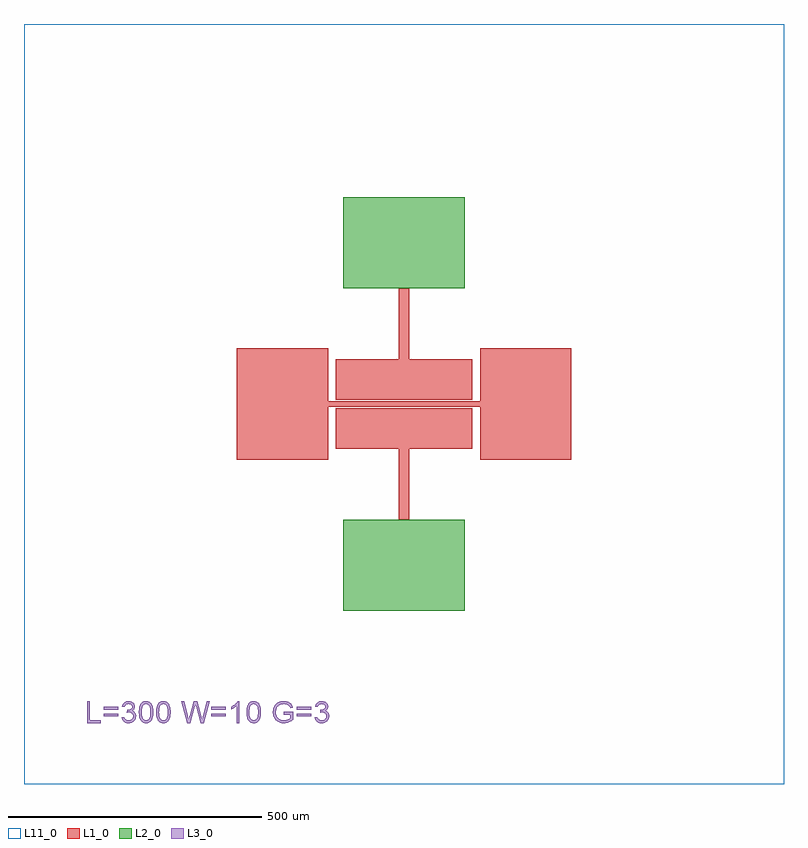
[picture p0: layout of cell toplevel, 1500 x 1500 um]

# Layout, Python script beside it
from phidl import Device
import phidl.geometry as pg


##########################################
# Layers:
# 1 = device silicon / structural geometry
# 2 = optional contact blocks
# 3 = labels
# 11 = optional outline / visualization
##########################################


class EmptyClass:
    pass


def outline(mc):
    """Optional unit-cell outline for visualization."""
    cell_outline = Device("outline")
    cell_outline << pg.rectangle(size=(mc.unit_width, mc.unit_height), layer=11)
    return cell_outline


def make_anchor(mc):
    anchor = Device("anchor")
    anchor << pg.rectangle(size=(mc.anchor_width, mc.anchor_height), layer=1)
    return anchor


def make_beam(mc, L, W):
    beam = Device("beam")
    beam << pg.rectangle(size=(L, W), layer=1)
    return beam


def make_electrode_contact(mc):
    contact = Device("electrode_contact")
    contact << pg.rectangle(
        size=(mc.contact_width, mc.contact_height),
        layer=2,
    )
    return contact


def make_center_electrode(mc, beam_ref, gap, is_top):
    """Create one centered electrode with a wide active region, thin stem, and contact."""
    electrode = Device("center_electrode")

    active_length = min(
        mc.electrode_coverage_fraction * beam_ref.xsize,
        beam_ref.xsize + mc.electrode_tip_overhang,
    )
    active_length = max(active_length, mc.min_electrode_length)

    active_x = beam_ref.center[0] - active_length / 2
    stem_x = beam_ref.center[0] - mc.stem_width / 2
    contact_x = beam_ref.center[0] - mc.contact_width / 2

    if is_top:
        active_y = beam_ref.ymax + gap
        stem_y = active_y + mc.active_electrode_height
        contact_y = stem_y + mc.stem_length
    else:
        active_y = beam_ref.ymin - gap - mc.active_electrode_height
        contact_y = active_y - mc.stem_length - mc.contact_height
        stem_y = contact_y + mc.contact_height

    electrode << pg.rectangle(
        size=(active_length, mc.active_electrode_height),
        layer=1,
    ).move((active_x, active_y))
    electrode << pg.rectangle(
        size=(mc.stem_width, mc.stem_length),
        layer=1,
    ).move((stem_x, stem_y))
    electrode << make_electrode_contact(mc).move((contact_x, contact_y))

    return electrode


def clamped_clamped_cell(mc, L, W, gap):
    """Build one clamped-clamped beam resonator cell."""
    cell = Device(f"clamped_clamped_L{L}_W{W}_G{gap}")

    if mc.draw_outline:
        cell << outline(mc)

    beam_y = mc.unit_height / 2 - W / 2
    left_anchor_x = mc.center_x - (L / 2 + mc.anchor_width)
    right_anchor_x = mc.center_x + L / 2
    anchor_y = mc.unit_height / 2 - mc.anchor_height / 2

    left_anchor = cell << make_anchor(mc)
    left_anchor.move((left_anchor_x, anchor_y))

    beam = cell << make_beam(mc, L, W)
    beam.move((left_anchor_x + mc.anchor_width, beam_y))

    right_anchor = cell << make_anchor(mc)
    right_anchor.move((right_anchor_x, anchor_y))

    cell << make_center_electrode(mc, beam, gap=gap, is_top=True)
    cell << make_center_electrode(mc, beam, gap=gap, is_top=False)

    label = cell << pg.text(
        text=f"L={L} W={W} G={gap}",
        size=mc.label_size,
        layer=3,
        font="Arial",
    )
    label.move((mc.label_x, mc.label_y))

    return cell


def build_parameter_object():
    mc = EmptyClass()

    mc.unit_width = 1500
    mc.unit_height = 1500
    mc.center_x = mc.unit_width / 2
    mc.draw_outline = True

    mc.anchor_width = 180
    mc.anchor_height = 220

    mc.contact_width = 240
    mc.contact_height = 180
    mc.stem_width = 20
    mc.stem_length = 140
    mc.active_electrode_height = 80
    mc.electrode_coverage_fraction = 0.9
    mc.electrode_tip_overhang = 15
    mc.min_electrode_length = 180

    mc.label_size = 55
    mc.label_x = 120
    mc.label_y = 120

    mc.output_gds = "clamped_clamped_cell.gds"

    return mc


def main():
    mc = build_parameter_object()
    cell = clamped_clamped_cell(mc, L=300, W=10, gap=3)
    cell.write_gds(mc.output_gds)
    print(f"Wrote {mc.output_gds}")


if __name__ == "__main__":
    main()
